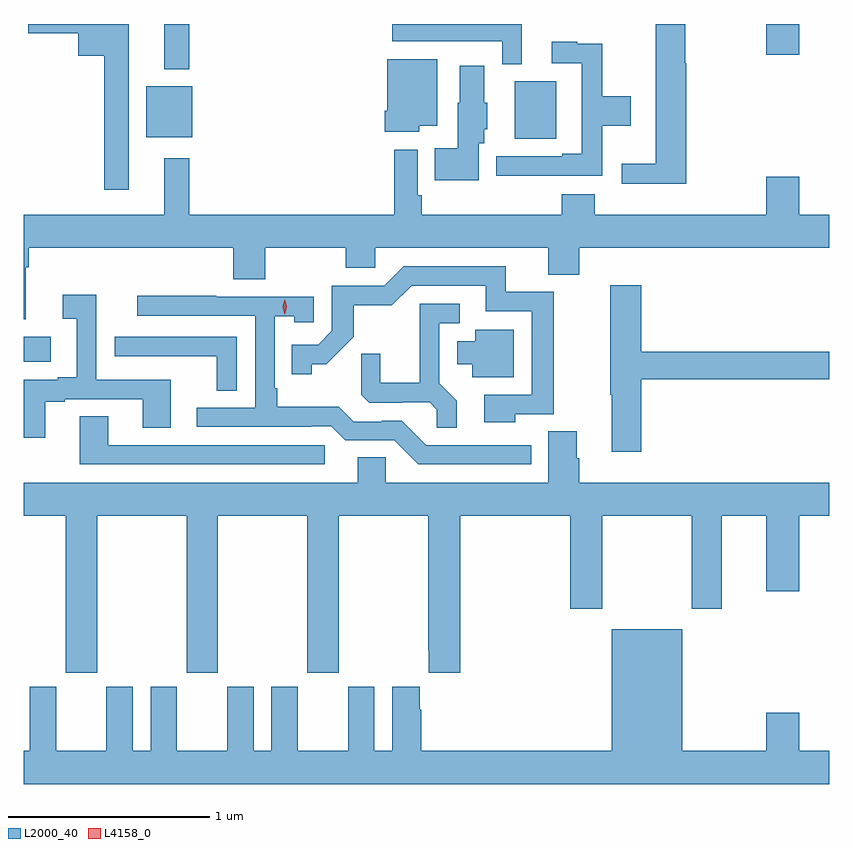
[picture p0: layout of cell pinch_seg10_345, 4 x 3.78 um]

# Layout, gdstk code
import gdstk
lib = gdstk.Library(unit=1e-6, precision=1e-09)
def R(c, l, rs):  # rectangles x0, y0, x1, y1
    for r in rs: c.add(gdstk.rectangle(r[:2], r[2:], *l))
def P(c, l, *ps):  # polygons
    for p in ps: c.add(gdstk.Polygon(p, *l))
L2000_40 = (2000, 40)
L4158_0 = (4158, 0)

pinch_seg10_345 = lib.new_cell('pinch_seg10_345')
R(pinch_seg10_345, L2000_40, [(484.995,1263.785,485.128,1263.909), (487.433,1264.895,487.639,1265.179), (485.603,1264.901,485.83,1265.155), (485.693,1265.24,485.815,1265.464), (488.684,1265.31,488.848,1265.464)])
P(pinch_seg10_345, L2000_40, [(487.468,1265.464),(486.825,1265.464),(486.825,1265.379),(487.371,1265.379),(487.371,1265.264),(487.468,1265.264)],
  [(485.515,1265.464),(485.016,1265.464),(485.016,1265.417),(485.264,1265.417),(485.264,1265.306),(485.394,1265.306),(485.394,1264.641),(485.515,1264.641)],
  [(488.285,1265.268),(488.28,1265.268),(488.28,1265.464),(488.135,1265.464),(488.135,1264.769),(487.965,1264.769),(487.965,1264.67),(488.285,1264.67)],
  [(487.583,1264.71),(487.868,1264.71),(487.868,1264.958),(488.011,1264.958),(488.011,1265.106),(487.868,1265.106),(487.868,1265.366),(487.745,1265.366),(487.745,1265.377),(487.617,1265.377),(487.617,1265.268),(487.767,1265.268),(487.767,1264.819),(487.67,1264.819),(487.67,1264.806),(487.341,1264.806),(487.341,1264.709),(487.583,1264.709)],
  [(486.958,1264.958),(487.048,1264.958),(487.048,1265.29),(486.8,1265.29),(486.8,1265.032),(486.788,1265.032),(486.788,1264.928),(486.958,1264.928)],
  [(487.255,1264.872),(487.282,1264.872),(487.282,1264.941),(487.297,1264.941),(487.297,1265.073),(487.282,1265.073),(487.282,1265.257),(487.16,1265.257),(487.16,1265.073),(487.151,1265.073),(487.151,1264.846),(487.036,1264.846),(487.036,1264.688),(487.255,1264.688)],
  [(488.684,1264.705),(488.684,1264.516),(487.832,1264.516),(487.832,1264.618),(487.667,1264.618),(487.667,1264.516),(486.971,1264.516),(486.971,1264.612),(486.951,1264.612),(486.951,1264.84),(486.835,1264.84),(486.835,1264.516),(485.815,1264.516),(485.815,1264.798),(485.693,1264.798),(485.693,1264.516),(484.995,1264.516),(484.995,1263.996),(485.005,1263.996),(485.005,1264.256),(485.018,1264.256),(485.018,1264.352),(486.035,1264.352),(486.035,1264.195),(486.195,1264.195),(486.195,1264.352),(486.595,1264.352),(486.595,1264.254),(486.741,1264.254),(486.741,1264.352),(487.601,1264.352),(487.601,1264.219),(487.754,1264.219),(487.754,1264.352),(488.995,1264.352),(488.995,1264.516),(488.848,1264.516),(488.848,1264.705)],
  [(487.437,1263.525),(487.627,1263.525),(487.627,1264.134),(487.388,1264.134),(487.388,1264.26),(486.882,1264.26),(486.786,1264.164),(486.525,1264.164),(486.525,1263.939),(486.456,1263.87),(486.325,1263.87),(486.325,1263.723),(486.426,1263.723),(486.426,1263.773),(486.496,1263.773),(486.634,1263.91),(486.634,1264.066),(486.823,1264.066),(486.921,1264.164),(487.289,1264.164),(487.289,1264.038),(487.518,1264.038),(487.518,1263.621),(487.281,1263.621),(487.281,1263.485),(487.437,1263.485)],
  [(488.063,1263.7),(488.995,1263.7),(488.995,1263.836),(488.063,1263.836),(488.063,1264.165),(487.909,1264.165),(487.909,1263.623),(487.916,1263.623),(487.916,1263.339),(488.063,1263.339)],
  [(485.101,1263.588),(485.197,1263.588),(485.197,1263.6),(485.585,1263.6),(485.585,1263.457),(485.725,1263.457),(485.725,1263.696),(485.355,1263.696),(485.355,1264.12),(485.187,1264.12),(485.187,1264),(485.258,1264),(485.258,1263.709),(485.162,1263.709),(485.162,1263.696),(484.995,1263.696),(484.995,1263.408),(485.101,1263.408)],
  [(487.516,1263.372),(486.993,1263.372),(486.873,1263.492),(486.772,1263.492),(486.772,1263.489),(486.633,1263.489),(486.56,1263.562),(486.253,1263.562),(486.253,1263.655),(486.24,1263.655),(486.24,1264.013),(486.339,1264.013),(486.339,1263.981),(486.435,1263.981),(486.435,1264.11),(485.951,1264.11),(485.951,1264.113),(485.559,1264.113),(485.559,1264.014),(486.144,1264.014),(486.144,1263.558),(485.853,1263.558),(485.853,1263.462),(486.422,1263.462),(486.422,1263.465),(486.522,1263.465),(486.591,1263.396),(486.834,1263.396),(486.954,1263.276),(487.516,1263.276)],
  [(487.145,1263.593),(487.059,1263.679),(487.059,1263.978),(487.159,1263.978),(487.159,1264.074),(486.962,1264.074),(486.962,1263.682),(486.764,1263.682),(486.764,1263.825),(486.67,1263.825),(486.67,1263.623),(486.711,1263.582),(486.876,1263.582),(486.876,1263.585),(487.01,1263.585),(487.047,1263.548),(487.047,1263.457),(487.145,1263.457)],
  [(487.429,1263.946),(487.238,1263.946),(487.238,1263.889),(487.148,1263.889),(487.148,1263.773),(487.223,1263.773),(487.223,1263.71),(487.429,1263.71)],
  [(486.051,1263.909),(485.445,1263.909),(485.445,1263.814),(485.557,1263.814),(485.557,1263.813),(485.953,1263.813),(485.953,1263.643),(486.051,1263.643)],
  [(486.49,1263.372),(485.413,1263.372),(485.413,1263.515),(485.273,1263.515),(485.273,1263.276),(486.49,1263.276)],
  [(487.709,1262.559),(487.869,1262.559),(487.869,1263.02),(488.314,1263.02),(488.314,1262.559),(488.461,1262.559),(488.461,1263.02),(488.684,1263.02),(488.684,1262.646),(488.848,1262.646),(488.848,1263.02),(488.995,1263.02),(488.995,1263.184),(487.754,1263.184),(487.754,1263.306),(487.741,1263.306),(487.741,1263.44),(487.601,1263.44),(487.601,1263.184),(486.792,1263.184),(486.792,1263.311),(486.653,1263.311),(486.653,1263.184),(484.995,1263.184),(484.995,1263.02),(485.203,1263.02),(485.203,1262.241),(485.358,1262.241),(485.358,1263.02),(485.803,1263.02),(485.803,1262.241),(485.958,1262.241),(485.958,1263.02),(486.403,1263.02),(486.403,1262.241),(486.558,1262.241),(486.558,1263.02),(487.003,1263.02),(487.003,1262.353),(487.007,1262.353),(487.007,1262.241),(487.163,1262.241),(487.163,1263.02),(487.709,1263.02)],
  [(486.224,1262.17),(486.224,1261.852),(486.136,1261.852),(486.136,1262.17),(486.005,1262.17),(486.005,1261.852),(485.755,1261.852),(485.755,1262.17),(485.624,1262.17),(485.624,1261.852),(485.536,1261.852),(485.536,1262.17),(485.405,1262.17),(485.405,1261.852),(485.155,1261.852),(485.155,1262.17),(485.024,1262.17),(485.024,1261.852),(484.995,1261.852),(484.995,1261.688),(488.995,1261.688),(488.995,1261.852),(488.848,1261.852),(488.848,1262.041),(488.684,1262.041),(488.684,1261.852),(488.266,1261.852),(488.266,1262.458),(487.916,1262.458),(487.916,1261.852),(486.968,1261.852),(486.968,1262.057),(486.961,1262.057),(486.961,1262.17),(486.824,1262.17),(486.824,1261.852),(486.736,1261.852),(486.736,1262.17),(486.605,1262.17),(486.605,1261.852),(486.355,1261.852),(486.355,1262.17)])
P(pinch_seg10_345, L4158_0, [(486.291,1264.022),(486.29,1264.023),(486.281,1264.059),(486.29,1264.095),(486.291,1264.095),(486.291,1264.095),(486.301,1264.059),(486.291,1264.023)])

lib.write_gds('pinch_seg10_345.gds')
